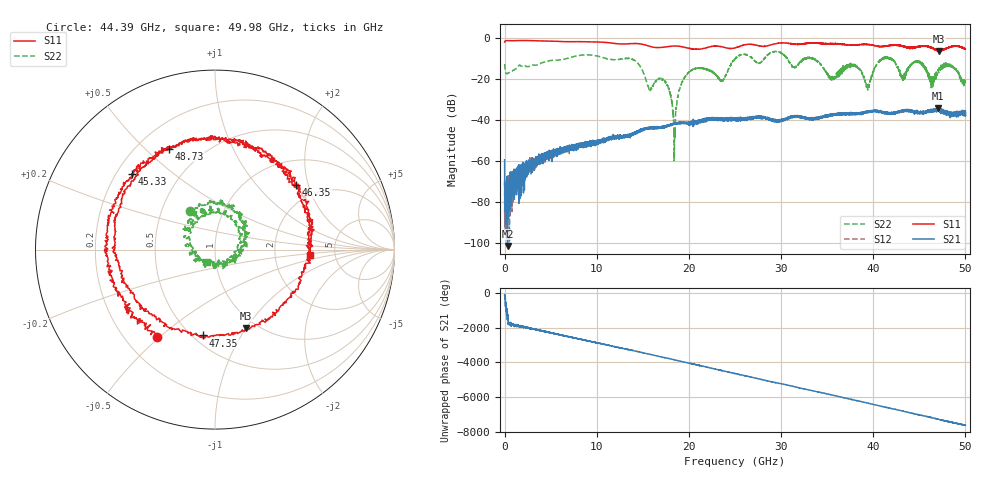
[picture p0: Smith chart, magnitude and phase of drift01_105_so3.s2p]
!Created with skrf (http://scikit-rf.org).
# Hz S RI R 50.0
!freq ReS11 ImS11 ReS21 ImS21 ReS12 ImS12 ReS22 ImS22
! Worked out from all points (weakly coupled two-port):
!   10001 points, 300 kHz to 50 GHz, reference 50 ohm
!   highest |S21| = -34.26 dB at 47.01 GHz (marker M1); lowest = -101.3 dB at 320.3 MHz (marker M2)
!   lowest |S11| = -6.5 dB at 47.15 GHz (marker M3), VSWR 2.78, Z = 44.5 - j50 ohm
!   |S11| at or under -10 dB: nowhere
!   |S22| runs from -59.8 to -6.7 dB; largest |S21 - S12| = 0.004
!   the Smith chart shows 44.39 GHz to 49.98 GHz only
!   S11 on the Smith chart (normalised r, x): 44.39 GHz: 0.33, -0.49; 45.33 GHz: 0.26, +0.37; 46.35 GHz: 1.55, +1.67; 47.35 GHz: 0.56, -0.70; 48.73 GHz: 0.33, +0.59; 49.98 GHz: 3.23, -0.28
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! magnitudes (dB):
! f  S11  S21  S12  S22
! 300 kHz  -2.1  -59.3  -71.9  -12.8
! 320.3 MHz  -1.4  -101.3  -71.8  -17.5
! 8.335 GHz  -1.9  -51.3  -51.1  -8.5
! 16.67 GHz  -4.8  -43.7  -43.7  -20.0
! 17.74 GHz  -4.3  -43.0  -43.0  -24.1
! 18.44 GHz  -4.1  -42.1  -42.0  -47.8
! 19.92 GHz  -5.0  -41.4  -41.5  -17.2
! 23.6 GHz  -4.5  -39.3  -39.9  -20.6
! 25 GHz  -5.0  -39.5  -39.8  -10.4
! 33.34 GHz  -2.6  -39.8  -39.3  -9.9
! 39.46 GHz  -3.3  -36.0  -35.9  -23.2
! 41.67 GHz  -3.9  -37.1  -36.7  -9.8
! 43.19 GHz  -4.2  -35.5  -35.9  -18.8
! 44.39 GHz  -4.7  -35.8  -36.0  -11.8
! 45.33 GHz  -4.1  -36.6  -36.0  -13.4
! 46.35 GHz  -4.8  -35.3  -35.5  -20.9
! 47.01 GHz  -6.3  -34.3  -35.3  -15.8
! 47.15 GHz  -6.5  -35.5  -35.2  -15.5
! 47.35 GHz  -6.3  -35.8  -35.1  -14.1
! 48.73 GHz  -4.2  -36.3  -37.3  -14.6
! 49.98 GHz  -5.5  -36.2  -36.6  -21.7
! 50 GHz  -5.5  -38.0  -36.1  -21.7
